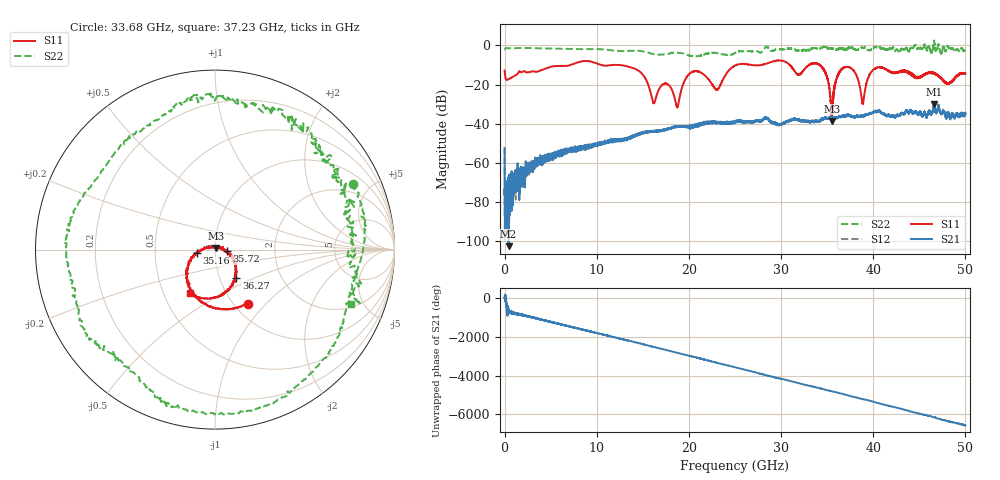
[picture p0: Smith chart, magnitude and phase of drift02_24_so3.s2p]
!Created with skrf (http://scikit-rf.org).
# Hz S RI R 50.0
!freq ReS11 ImS11 ReS21 ImS21 ReS12 ImS12 ReS22 ImS22
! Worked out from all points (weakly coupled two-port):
!   10001 points, 300 kHz to 50 GHz, reference 50 ohm
!   highest |S21| = -30.15 dB at 46.6 GHz (marker M1); lowest = -102.5 dB at 435.3 MHz (marker M2)
!   lowest |S11| = -38.6 dB at 35.53 GHz (marker M3), VSWR 1.02, Z = 50.7 + j0.982 ohm
!   |S11| at or under -10 dB: start of sweep to 7.177 GHz; 12.33 GHz to 25.16 GHz (12.84 GHz wide, 68.5 % of centre); 34.21 GHz to end of sweep (the widest 3 of 19)
!   |S22| runs from -5.7 to 2.5 dB; largest |S21 - S12| = 0.0037
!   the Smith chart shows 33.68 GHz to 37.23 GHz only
!   S11 on the Smith chart (normalised r, x): 33.68 GHz: 1.16, -0.79; 35.16 GHz: 0.82, -0.03; 35.72 GHz: 1.14, -0.02; 36.27 GHz: 1.20, -0.40; 37.23 GHz: 0.68, -0.36
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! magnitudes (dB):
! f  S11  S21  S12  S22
! 300 kHz  -12.9  -52.9  -51.8  -2.1
! 435.3 MHz  -17.2  -102.5  -83.8  -1.5
! 8.335 GHz  -8.2  -52.4  -52.6  -1.9
! 14.02 GHz  -11.7  -46.4  -46.3  -2.8
! 16.15 GHz  -29.4  -44.0  -43.8  -4.5
! 16.67 GHz  -23.2  -43.8  -43.7  -4.7
! 18.74 GHz  -31.6  -41.5  -41.4  -3.7
! 20.24 GHz  -13.9  -41.3  -41.5  -5.5
! 23.04 GHz  -22.7  -39.4  -39.3  -4.1
! 25 GHz  -10.3  -39.3  -38.8  -3.9
! 33.34 GHz  -9.3  -38.3  -39.1  -1.5
! 33.68 GHz  -9.1  -38.8  -38.7  -1.4
! 35.16 GHz  -19.8  -36.9  -37.2  -1.7
! 35.53 GHz  -38.6  -36.7  -36.9  -1.7
! 35.72 GHz  -23.8  -36.7  -36.7  -1.7
! 36.27 GHz  -14.1  -36.6  -36.9  -1.5
! 37.23 GHz  -11.1  -35.9  -35.7  -1.8
! 38.86 GHz  -29.9  -36.0  -36.0  -1.3
! 39.94 GHz  -12.8  -34.5  -34.5  -2.0
! 41.67 GHz  -13.0  -35.5  -35.8  -1.8
! 46.6 GHz  -14.4  -30.1  -30.2  2.1
! 50 GHz  -14.5  -34.9  -34.5  -2.7
